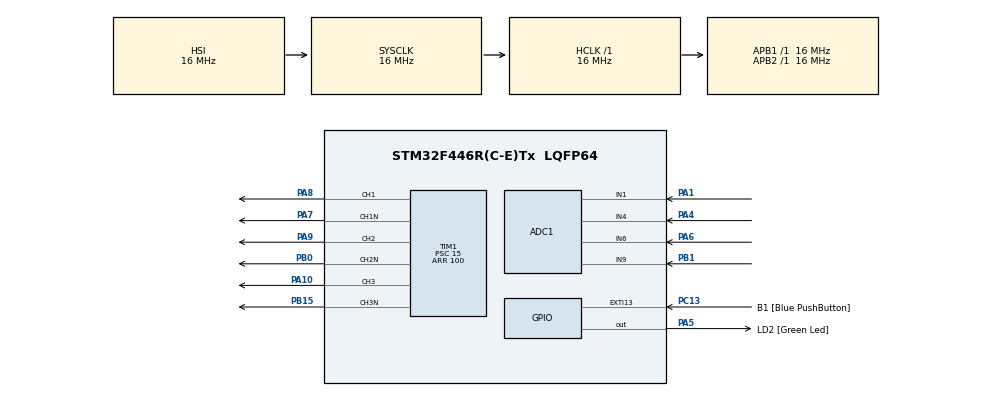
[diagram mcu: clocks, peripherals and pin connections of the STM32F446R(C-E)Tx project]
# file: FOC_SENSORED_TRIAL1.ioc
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ADC1.Channel-0\#ChannelRegularConversion=ADC_CHANNEL_9
ADC1.Channel-1\#ChannelRegularConversion=ADC_CHANNEL_1
ADC1.Channel-2\#ChannelRegularConversion=ADC_CHANNEL_4
ADC1.Channel-3\#ChannelRegularConversion=ADC_CHANNEL_6
ADC1.ContinuousConvMode=ENABLE
ADC1.InjNumberOfConversion=0
ADC1.NbrOfConversion=4
ADC1.NbrOfConversionFlag=1
ADC1.Rank-0\#ChannelRegularConversion=1
ADC1.Rank-1\#ChannelRegularConversion=2
ADC1.Rank-2\#ChannelRegularConversion=3
ADC1.Rank-3\#ChannelRegularConversion=4
ADC1.SamplingTime-0\#ChannelRegularConversion=ADC_SAMPLETIME_144CYCLES
ADC1.SamplingTime-1\#ChannelRegularConversion=ADC_SAMPLETIME_144CYCLES
ADC1.SamplingTime-2\#ChannelRegularConversion=ADC_SAMPLETIME_144CYCLES
ADC1.SamplingTime-3\#ChannelRegularConversion=ADC_SAMPLETIME_144CYCLES
ADC1.ScanConvMode=ENABLE
ADC1.master=1
Mcu.Family=STM32F4
Mcu.Name=STM32F446R(C-E)Tx
Mcu.Package=LQFP64
NVIC.PriorityGroup=NVIC_PRIORITYGROUP_0
PA1.Signal=ADCx_IN1
PA10.Signal=S_TIM1_CH3
PA13.GPIO_Label=TMS
PA13.Signal=SYS_JTMS-SWDIO
PA14.GPIO_Label=TCK
PA14.Signal=SYS_JTCK-SWCLK
PA2.GPIO_Label=USART_TX
PA2.Signal=USART2_TX
PA3.GPIO_Label=USART_RX
PA3.Signal=USART2_RX
PA4.Signal=ADCx_IN4
PA5.GPIO_Label=LD2 [Green Led]
PA5.Signal=GPIO_Output
PA6.Signal=ADCx_IN6
PA7.Mode=PWM Generation1 CH1 CH1N
PA7.Signal=TIM1_CH1N
PA8.Signal=S_TIM1_CH1
PA9.Signal=S_TIM1_CH2
PB0.Mode=PWM Generation2 CH2 CH2N
PB0.Signal=TIM1_CH2N
PB1.Signal=ADCx_IN9
PB15.Mode=PWM Generation3 CH3 CH3N
PB15.Signal=TIM1_CH3N
PB3.GPIO_Label=SWO
PB3.Signal=SYS_JTDO-SWO
PC13.GPIO_Label=B1 [Blue PushButton]
PC13.GPIO_ModeDefaultEXTI=GPIO_MODE_IT_FALLING
PC13.Signal=GPXTI13
PC14-OSC32_IN.Signal=RCC_OSC32_IN
PC15-OSC32_OUT.Signal=RCC_OSC32_OUT
PH0-OSC_IN.Signal=RCC_OSC_IN
PH1-OSC_OUT.Signal=RCC_OSC_OUT
ProjectManager.HeapSize=0x200
ProjectManager.StackSize=0x400
ProjectManager.TargetToolchain=STM32CubeIDE
RCC.AHBFreq_Value=16000000
RCC.APB1Freq_Value=16000000
RCC.APB1TimFreq_Value=16000000
RCC.APB2Freq_Value=16000000
RCC.APB2TimFreq_Value=16000000
RCC.CortexFreq_Value=16000000
RCC.FLatency-AdvancedSettings=FLASH_LATENCY_0
RCC.HCLKFreq_Value=16000000
RCC.HSE_VALUE=8000000
RCC.HSI_VALUE=16000000
RCC.LSE_VALUE=32768
RCC.PLLN=336
RCC.PLLP=RCC_PLLP_DIV4
RCC.SYSCLKFreq_VALUE=16000000
RCC.USBFreq_Value=168000000
RCC.VCOOutputFreq_Value=336000000
SH.ADCx_IN1.0=ADC1_IN1,IN1
SH.ADCx_IN4.0=ADC1_IN4,IN4
SH.ADCx_IN6.0=ADC1_IN6,IN6
SH.ADCx_IN9.0=ADC1_IN9,IN9
SH.S_TIM1_CH1.0=TIM1_CH1,PWM Generation1 CH1 CH1N
SH.S_TIM1_CH2.0=TIM1_CH2,PWM Generation2 CH2 CH2N
SH.S_TIM1_CH3.0=TIM1_CH3,PWM Generation3 CH3 CH3N
TIM1.Channel-PWM\ Generation1\ CH1\ CH1N=TIM_CHANNEL_1
TIM1.Channel-PWM\ Generation2\ CH2\ CH2N=TIM_CHANNEL_2
TIM1.Channel-PWM\ Generation3\ CH3\ CH3N=TIM_CHANNEL_3
TIM1.CounterMode=TIM_COUNTERMODE_CENTERALIGNED1
TIM1.Period=100
TIM1.Prescaler=15
VP_TIM1_VS_ClockSourceINT.Mode=Internal
board=NUCLEO-F446RE

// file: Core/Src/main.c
/* USER CODE BEGIN Header */
/**
  ******************************************************************************
  * @file           : main.c
  * @brief          : Main program body
  ******************************************************************************
  * @attention
  *
  * Copyright (c) 2024 STMicroelectronics.
  * All rights reserved.
  *
  * This software is licensed under terms that can be found in the LICENSE file
  * in the root directory of this software component.
  * If no LICENSE file comes with this software, it is provided AS-IS.
  *
  ******************************************************************************
  */
/* USER CODE END Header */
#include "main.h"

/* USER CODE BEGIN Includes */
#include "root.h"
/* USER CODE END Includes */

/* USER CODE BEGIN PD */
#define PI 3.14
#define ADC_RESOLUTION                  4095              /* the ADC resolution which is 12 bits */
#define SENSOR_MID_VOLTAGE              2.5            /* the maximum output voltage from the sensor */
#define ADC_MAX_VOLTAGE                 3.3
#define SENSOR_SENSITIVITY              0.025
/* USER CODE END PD */

ADC_HandleTypeDef hadc1;

TIM_HandleTypeDef htim1;

/* USER CODE BEGIN PV */
uint16_t Adc_PhaseA_Current;
uint16_t Adc_PhaseB_Current;
uint16_t Adc_PhaseC_Current;

/* USER CODE END PV */

void SystemClock_Config(void);
static void MX_GPIO_Init(void);
static void MX_TIM1_Init(void);
static void MX_ADC1_Init(void);

/* USER CODE BEGIN 0 */

root_ModelData mainStruct;
encoder_out encoderStruct;

/* USER CODE END 0 */

int main(void)
{

  /* MCU Configuration--------------------------------------------------------*/

  /* Reset of all peripherals, Initializes the Flash interface and the Systick. */
  HAL_Init();

  /* Configure the system clock */
  SystemClock_Config();

  /* Initialize all configured peripherals */
  MX_GPIO_Init();
  MX_TIM1_Init();
  MX_ADC1_Init();
  /* USER CODE BEGIN 2 */

  int pwma, pwmb, pwmc;
  root_init0(&mainStruct);
  HAL_TIM_PWM_Start(&htim1, TIM_CHANNEL_1);
  HAL_TIM_PWM_Start(&htim1, TIM_CHANNEL_2);
  HAL_TIM_PWM_Start(&htim1, TIM_CHANNEL_3);
  HAL_TIMEx_PWMN_Start(&htim1, TIM_CHANNEL_1);
  HAL_TIMEx_PWMN_Start(&htim1, TIM_CHANNEL_2);
  HAL_TIMEx_PWMN_Start(&htim1, TIM_CHANNEL_3);
  /* USER CODE END 2 */

  /* Infinite loop */
  /* USER CODE BEGIN WHILE */
  while (1)
  {
	 mainStruct.p_extIn->_ia_out = ADC_ReadCurrentPhaseA();
	 mainStruct.p_extIn->_ib_out = ADC_ReadCurrentPhaseB();
	 mainStruct.p_extIn->_ic_out = ADC_ReadCurrentPhaseC();

	 ADC_ReadEncoder(&encoderStruct);
	 mainStruct.p_extIn->_pmsm1_out[0] = encoderStruct.te;
	 mainStruct.p_extIn->_pmsm1_out[1] = encoderStruct.wm;
	 mainStruct.p_extIn->_pmsm1_out[2] = encoderStruct.theta;

	 root_step1(&mainStruct);
	 root_step0(&mainStruct);

	 pwma = PWM_Regulate(mainStruct.p_Sinks->_three_phase_inverter1_ina);
	 pwmb = PWM_Regulate(mainStruct.p_Sinks->_three_phase_inverter1_inb);
	 pwmc = PWM_Regulate(mainStruct.p_Sinks->_three_phase_inverter1_inc);

	 TIM1->CCR1 = pwma;
	 TIM1->CCR2 = pwmb;
	 TIM1->CCR3 = pwmc;

    /* USER CODE END WHILE */

  }
}

void SystemClock_Config(void)
{
  RCC_OscInitTypeDef RCC_OscInitStruct = {0};
  RCC_ClkInitTypeDef RCC_ClkInitStruct = {0};

  /** Configure the main internal regulator output voltage
  */
  __HAL_RCC_PWR_CLK_ENABLE();
  __HAL_PWR_VOLTAGESCALING_CONFIG(PWR_REGULATOR_VOLTAGE_SCALE3);

  /** Initializes the RCC Oscillators according to the specified parameters
  * in the RCC_OscInitTypeDef structure.
  */
  RCC_OscInitStruct.OscillatorType = RCC_OSCILLATORTYPE_HSI;
  RCC_OscInitStruct.HSIState = RCC_HSI_ON;
  RCC_OscInitStruct.HSICalibrationValue = RCC_HSICALIBRATION_DEFAULT;
  RCC_OscInitStruct.PLL.PLLState = RCC_PLL_NONE;
  if (HAL_RCC_OscConfig(&RCC_OscInitStruct) != HAL_OK)
  {
    Error_Handler();
  }

  /** Initializes the CPU, AHB and APB buses clocks
  */
  RCC_ClkInitStruct.ClockType = RCC_CLOCKTYPE_HCLK|RCC_CLOCKTYPE_SYSCLK
                              |RCC_CLOCKTYPE_PCLK1|RCC_CLOCKTYPE_PCLK2;
  RCC_ClkInitStruct.SYSCLKSource = RCC_SYSCLKSOURCE_HSI;
  RCC_ClkInitStruct.AHBCLKDivider = RCC_SYSCLK_DIV1;
  RCC_ClkInitStruct.APB1CLKDivider = RCC_HCLK_DIV1;
  RCC_ClkInitStruct.APB2CLKDivider = RCC_HCLK_DIV1;

  if (HAL_RCC_ClockConfig(&RCC_ClkInitStruct, FLASH_LATENCY_0) != HAL_OK)
  {
    Error_Handler();
  }
}

static void MX_ADC1_Init(void)
{

  ADC_ChannelConfTypeDef sConfig = {0};

  /** Configure the global features of the ADC (Clock, Resolution, Data Alignment and number of conversion)
  */
  hadc1.Instance = ADC1;
  hadc1.Init.ClockPrescaler = ADC_CLOCK_SYNC_PCLK_DIV2;
  hadc1.Init.Resolution = ADC_RESOLUTION_12B;
  hadc1.Init.ScanConvMode = ENABLE;
  hadc1.Init.ContinuousConvMode = ENABLE;
  hadc1.Init.DiscontinuousConvMode = DISABLE;
  hadc1.Init.ExternalTrigConvEdge = ADC_EXTERNALTRIGCONVEDGE_NONE;
  hadc1.Init.ExternalTrigConv = ADC_SOFTWARE_START;
  hadc1.Init.DataAlign = ADC_DATAALIGN_RIGHT;
  hadc1.Init.NbrOfConversion = 4;
  hadc1.Init.DMAContinuousRequests = DISABLE;
  hadc1.Init.EOCSelection = ADC_EOC_SINGLE_CONV;
  if (HAL_ADC_Init(&hadc1) != HAL_OK)
  {
    Error_Handler();
  }

  /** Configure for the selected ADC regular channel its corresponding rank in the sequencer and its sample time.
  */
  sConfig.Channel = ADC_CHANNEL_9;
  sConfig.Rank = 1;
  sConfig.SamplingTime = ADC_SAMPLETIME_144CYCLES;
  if (HAL_ADC_ConfigChannel(&hadc1, &sConfig) != HAL_OK)
  {
    Error_Handler();
  }

  /** Configure for the selected ADC regular channel its corresponding rank in the sequencer and its sample time.
  */
  sConfig.Channel = ADC_CHANNEL_1;
  sConfig.Rank = 2;
  if (HAL_ADC_ConfigChannel(&hadc1, &sConfig) != HAL_OK)
  {
    Error_Handler();
  }

  /** Configure for the selected ADC regular channel its corresponding rank in the sequencer and its sample time.
  */
  sConfig.Channel = ADC_CHANNEL_4;
  sConfig.Rank = 3;
  if (HAL_ADC_ConfigChannel(&hadc1, &sConfig) != HAL_OK)
  {
    Error_Handler();
  }

  /** Configure for the selected ADC regular channel its corresponding rank in the sequencer and its sample time.
  */
  sConfig.Channel = ADC_CHANNEL_6;
  sConfig.Rank = 4;
  if (HAL_ADC_ConfigChannel(&hadc1, &sConfig) != HAL_OK)
  {
    Error_Handler();
  }

}

static void MX_TIM1_Init(void)
{

  TIM_ClockConfigTypeDef sClockSourceConfig = {0};
  TIM_MasterConfigTypeDef sMasterConfig = {0};
  TIM_OC_InitTypeDef sConfigOC = {0};
  TIM_BreakDeadTimeConfigTypeDef sBreakDeadTimeConfig = {0};

  htim1.Instance = TIM1;
  htim1.Init.Prescaler = 15;
  htim1.Init.CounterMode = TIM_COUNTERMODE_CENTERALIGNED1;
  htim1.Init.Period = 100;
  htim1.Init.ClockDivision = TIM_CLOCKDIVISION_DIV1;
  htim1.Init.RepetitionCounter = 0;
  htim1.Init.AutoReloadPreload = TIM_AUTORELOAD_PRELOAD_DISABLE;
  if (HAL_TIM_Base_Init(&htim1) != HAL_OK)
  {
    Error_Handler();
  }
  sClockSourceConfig.ClockSource = TIM_CLOCKSOURCE_INTERNAL;
  if (HAL_TIM_ConfigClockSource(&htim1, &sClockSourceConfig) != HAL_OK)
  {
    Error_Handler();
  }
  if (HAL_TIM_PWM_Init(&htim1) != HAL_OK)
  {
    Error_Handler();
  }
  sMasterConfig.MasterOutputTrigger = TIM_TRGO_RESET;
  sMasterConfig.MasterSlaveMode = TIM_MASTERSLAVEMODE_DISABLE;
  if (HAL_TIMEx_MasterConfigSynchronization(&htim1, &sMasterConfig) != HAL_OK)
  {
    Error_Handler();
  }
  sConfigOC.OCMode = TIM_OCMODE_PWM1;
  sConfigOC.Pulse = 0;
  sConfigOC.OCPolarity = TIM_OCPOLARITY_HIGH;
  sConfigOC.OCNPolarity = TIM_OCNPOLARITY_HIGH;
  sConfigOC.OCFastMode = TIM_OCFAST_DISABLE;
  sConfigOC.OCIdleState = TIM_OCIDLESTATE_RESET;
  sConfigOC.OCNIdleState = TIM_OCNIDLESTATE_RESET;
  if (HAL_TIM_PWM_ConfigChannel(&htim1, &sConfigOC, TIM_CHANNEL_1) != HAL_OK)
  {
    Error_Handler();
  }
  if (HAL_TIM_PWM_ConfigChannel(&htim1, &sConfigOC, TIM_CHANNEL_2) != HAL_OK)
  {
    Error_Handler();
  }
  if (HAL_TIM_PWM_ConfigChannel(&htim1, &sConfigOC, TIM_CHANNEL_3) != HAL_OK)
  {
    Error_Handler();
  }
  sBreakDeadTimeConfig.OffStateRunMode = TIM_OSSR_DISABLE;
  sBreakDeadTimeConfig.OffStateIDLEMode = TIM_OSSI_DISABLE;
  sBreakDeadTimeConfig.LockLevel = TIM_LOCKLEVEL_OFF;
  sBreakDeadTimeConfig.DeadTime = 0;
  sBreakDeadTimeConfig.BreakState = TIM_BREAK_DISABLE;
  sBreakDeadTimeConfig.BreakPolarity = TIM_BREAKPOLARITY_HIGH;
  sBreakDeadTimeConfig.AutomaticOutput = TIM_AUTOMATICOUTPUT_DISABLE;
  if (HAL_TIMEx_ConfigBreakDeadTime(&htim1, &sBreakDeadTimeConfig) != HAL_OK)
  {
    Error_Handler();
  }
  HAL_TIM_MspPostInit(&htim1);

}

static void MX_GPIO_Init(void)
{
  GPIO_InitTypeDef GPIO_InitStruct = {0};

  /* GPIO Ports Clock Enable */
  __HAL_RCC_GPIOC_CLK_ENABLE();
  __HAL_RCC_GPIOH_CLK_ENABLE();
  __HAL_RCC_GPIOA_CLK_ENABLE();
  __HAL_RCC_GPIOB_CLK_ENABLE();

  /*Configure GPIO pin Output Level */
  HAL_GPIO_WritePin(LD2_GPIO_Port, LD2_Pin, GPIO_PIN_RESET);

  /*Configure GPIO pin : B1_Pin */
  GPIO_InitStruct.Pin = B1_Pin;
  GPIO_InitStruct.Mode = GPIO_MODE_IT_FALLING;
  GPIO_InitStruct.Pull = GPIO_NOPULL;
  HAL_GPIO_Init(B1_GPIO_Port, &GPIO_InitStruct);

  /*Configure GPIO pins : USART_TX_Pin USART_RX_Pin */
  GPIO_InitStruct.Pin = USART_TX_Pin|USART_RX_Pin;
  GPIO_InitStruct.Mode = GPIO_MODE_AF_PP;
  GPIO_InitStruct.Pull = GPIO_NOPULL;
  GPIO_InitStruct.Speed = GPIO_SPEED_FREQ_VERY_HIGH;
  GPIO_InitStruct.Alternate = GPIO_AF7_USART2;
  HAL_GPIO_Init(GPIOA, &GPIO_InitStruct);

  /*Configure GPIO pin : LD2_Pin */
  GPIO_InitStruct.Pin = LD2_Pin;
  GPIO_InitStruct.Mode = GPIO_MODE_OUTPUT_PP;
  GPIO_InitStruct.Pull = GPIO_NOPULL;
  GPIO_InitStruct.Speed = GPIO_SPEED_FREQ_LOW;
  HAL_GPIO_Init(LD2_GPIO_Port, &GPIO_InitStruct);

}

/* USER CODE BEGIN 4 */
/****************************** ADC FUNCTIONS DEFINITIONS ************************************/

void ADC_SelectChannel1(void){

	ADC_ChannelConfTypeDef sConfig = {0};
		  /** Configure for the selected ADC regular channel its corresponding rank in the sequencer and its sample time.
		  */
	  sConfig.Channel = ADC_CHANNEL_9;
	  sConfig.Rank = 1;
	  sConfig.SamplingTime = ADC_SAMPLETIME_144CYCLES;
	  if (HAL_ADC_ConfigChannel(&hadc1, &sConfig) != HAL_OK)
	  {
	    Error_Handler();
	  }

}

void ADC_SelectChannel2(void){

	ADC_ChannelConfTypeDef sConfig = {0};
		  /** Configure for the selected ADC regular channel its corresponding rank in the sequencer and its sample time.
		  */
	  sConfig.Channel = ADC_CHANNEL_1;
	  sConfig.Rank = 1;
	  sConfig.SamplingTime = ADC_SAMPLETIME_144CYCLES;
	  if (HAL_ADC_ConfigChannel(&hadc1, &sConfig) != HAL_OK)
	  {
	    Error_Handler();
	  }

}

void ADC_SelectChannel3(void){

	ADC_ChannelConfTypeDef sConfig = {0};
		  /** Configure for the selected ADC regular channel its corresponding rank in the sequencer and its sample time.
		  */
	  sConfig.Channel = ADC_CHANNEL_4;
	  sConfig.Rank = 1;
	  sConfig.SamplingTime = ADC_SAMPLETIME_144CYCLES;
	  if (HAL_ADC_ConfigChannel(&hadc1, &sConfig) != HAL_OK)
	  {
	    Error_Handler();
	  }

}

void ADC_SelectChannel4(void){

	ADC_ChannelConfTypeDef sConfig = {0};
		  /** Configure for the selected ADC regular channel its corresponding rank in the sequencer and its sample time.
		  */
	  sConfig.Channel = ADC_CHANNEL_6;
	  sConfig.Rank = 1;
	  sConfig.SamplingTime = ADC_SAMPLETIME_144CYCLES;
	  if (HAL_ADC_ConfigChannel(&hadc1, &sConfig) != HAL_OK)
	  {
	    Error_Handler();
	  }

}

real_t ADC_ReadCurrentPhaseA(void){
	real_t voltage=0;           /* sensed voltage raw value */
	real_t Ia_real_value;  /* Phase A current real value without our scale */

	ADC_SelectChannel1();
	HAL_ADC_Start(&hadc1);
	HAL_ADC_PollForConversion(&hadc1, 1000);
	Adc_PhaseA_Current = HAL_ADC_GetValue(&hadc1);
	HAL_ADC_Stop(&hadc1);

	voltage = Adc_PhaseA_Current * (ADC_MAX_VOLTAGE/ADC_RESOLUTION);            /* getting the actual sensed voltage (from 0 to 5 volts ) from this reading by dividing this
		                                           reading by the resolution of the ADC (2^12) and multiplying it by 3.3 */

	Ia_real_value = (voltage-(SENSOR_MID_VOLTAGE)) / (SENSOR_SENSITIVITY);
	//PhaseA_Real_Current = Ia_real_value;
	return Ia_real_value;
}

real_t ADC_ReadCurrentPhaseB(void){
	real_t voltage=0;           /* sensed voltage raw value */
	real_t Ib_real_value;  /* Phase B current real value without our scale */

	ADC_SelectChannel2();
	HAL_ADC_Start(&hadc1);
	HAL_ADC_PollForConversion(&hadc1, 1000);
	Adc_PhaseB_Current = HAL_ADC_GetValue(&hadc1);
	HAL_ADC_Stop(&hadc1);
	voltage = Adc_PhaseB_Current * (ADC_MAX_VOLTAGE/ADC_RESOLUTION);              /* getting the actual sensed voltage (from 0 to 3.3 volts ) from this reading by dividing this
		                                           reading by the resolution of the ADC (2^12) and multiplying it by 3.3 */

	Ib_real_value = (voltage-(SENSOR_MID_VOLTAGE)) / (SENSOR_SENSITIVITY);

	return Ib_real_value;
}

real_t ADC_ReadCurrentPhaseC(void){
	real_t voltage=0;           /* sensed voltage raw value */
	real_t Ic_real_value;  /* Phase C current real value without our scale */

	ADC_SelectChannel3();
	HAL_ADC_Start(&hadc1);
	HAL_ADC_PollForConversion(&hadc1, 1000);
	Adc_PhaseC_Current = HAL_ADC_GetValue(&hadc1);
	HAL_ADC_Stop(&hadc1);
	voltage = Adc_PhaseC_Current * (ADC_MAX_VOLTAGE/ADC_RESOLUTION);                /* getting the actual sensed voltage (from 0 to 3.3 volts ) from this reading by dividing this
		                                           reading by the resolution of the ADC (2^12) and multiplying it by 3.3 */

	Ic_real_value = (voltage-(SENSOR_MID_VOLTAGE)) / (SENSOR_SENSITIVITY);

	return Ic_real_value;
}

void ADC_ReadEncoder(encoder_out* a){

	/* write encoder function and read from channel 4*/
	/* hello guys */
}

int PWM_Regulate(real_t input){
	real_t a = input;
	int b;

	b = (a+1) * 50;

	return b;
}
/* USER CODE END 4 */

void Error_Handler(void)
{
  __disable_irq();
  while (1)
  {
  }
}
